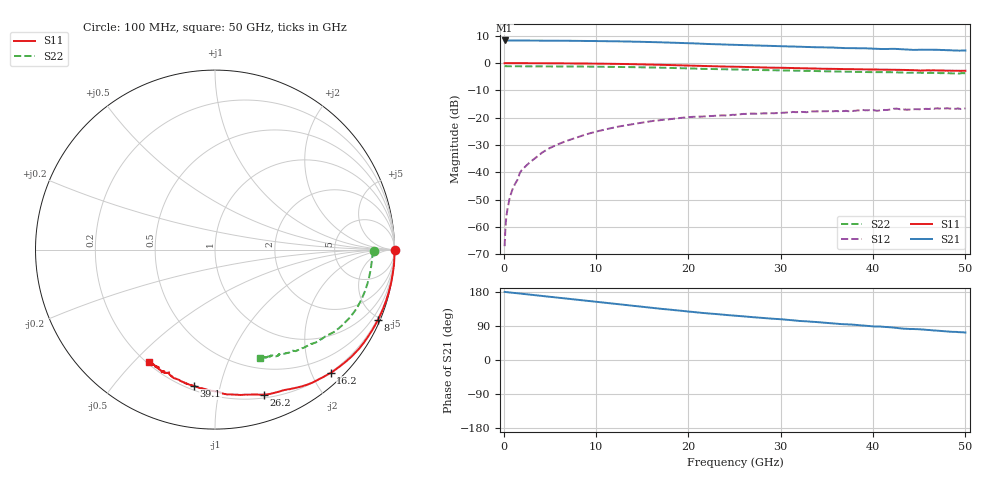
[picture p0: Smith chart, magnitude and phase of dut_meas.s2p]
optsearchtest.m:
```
filename='dut_meas.s2p';
s_obj=sparameters(filename);
parasitics=zeros(8,1);
parasitics=modelparameters(1);
tic
[errmin,modelparameters,s_model_obj]=optsearch(s_obj,parasitics);
toc
subplot(2,4,1)
rfplot(s_obj,1,1,'real');
hold on
rfplot(s_model_obj,1,1,'real');
hold off
subplot(2,4,2)
rfplot(s_obj,1,2,'real');
hold on
rfplot(s_model_obj,1,2,'real');
hold off
subplot(2,4,3)
rfplot(s_obj,2,1,'real');
hold on
rfplot(s_model_obj,2,1,'real');
hold off
subplot(2,4,4)
rfplot(s_obj,2,2,'real');
hold on
rfplot(s_model_obj,2,2,'real');
hold off
subplot(2,4,5)
rfplot(s_obj,1,1,'imag');
hold on
rfplot(s_model_obj,1,1,'imag');
hold off
subplot(2,4,6)
rfplot(s_obj,1,2,'imag');
hold on
rfplot(s_model_obj,1,2,'imag');
hold off
subplot(2,4,7)
rfplot(s_obj,2,1,'imag');
hold on
rfplot(s_model_obj,2,1,'imag');
hold off
subplot(2,4,8)
rfplot(s_obj,2,2,'imag');
hold on
rfplot(s_model_obj,2,2,'imag');
hold off
```
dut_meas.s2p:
# Hz S RI R 50.00
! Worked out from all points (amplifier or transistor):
!   500 points, 100 MHz to 50 GHz, reference 50 ohm
!   highest |S21| = 8.3 dB at 100 MHz (marker M1)
!   |S21| within 3 dB of that: start of sweep to 39.73 GHz
!   unconditionally stable (mu >= 1): nowhere
!   at 8.4 GHz: K = 0.07, MSG = 17.4 dB, |S12| = -26.7 dB
!   at 25.1 GHz: K = 0.42, MSG = 12.8 dB, |S12| = -18.9 dB
!   at 50 GHz: K = 0.72, MSG = 10.6 dB, |S12| = -16.5 dB
!   S11 on the Smith chart (normalised r, x): 100 MHz: open; 8 GHz: 0.14, -4.86; 16.2 GHz: 0.19, -2.30; 26.2 GHz: 0.23, -1.36; 39.1 GHz: 0.22, -0.83; 50 GHz: 0.21, -0.56
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1e8  1 -0.00482  -2.609 0.013  -2.85e-06 0.000443  0.8838 -0.00836
4e8  1 -0.0201  -2.602 0.0517  1.08e-05 0.00206  0.8789 -0.0147
7e8  0.9998 -0.035  -2.602 0.0857  6.83e-05 0.00364  0.8781 -0.022
1.9e9  0.9956 -0.0961  -2.59 0.227  1.73e-05 0.0107  0.8749 -0.0536
4.5e9  0.9714 -0.2256  -2.534 0.5315  0.00289 0.0248  0.865 -0.1227
8e9  0.9087 -0.3902  -2.393 0.9202  0.0116 0.0426  0.841 -0.2147
1.62e10  0.6445 -0.6871  -1.793 1.653  0.0508 0.0713  0.7281 -0.4017
2.51e10  0.3128 -0.8032  -0.98 1.933  0.0924 0.066  0.5741 -0.511
2.62e10  0.2711 -0.8078  -0.896 1.944  0.0987 0.0642  0.5547 -0.5197
3.91e10  -0.1161 -0.7598  -0.022 1.87  0.1336 0.0335  0.3713 -0.5814
5e10  -0.3652 -0.6289  0.5102 1.631  0.1487 0.00377  0.248 -0.6061
